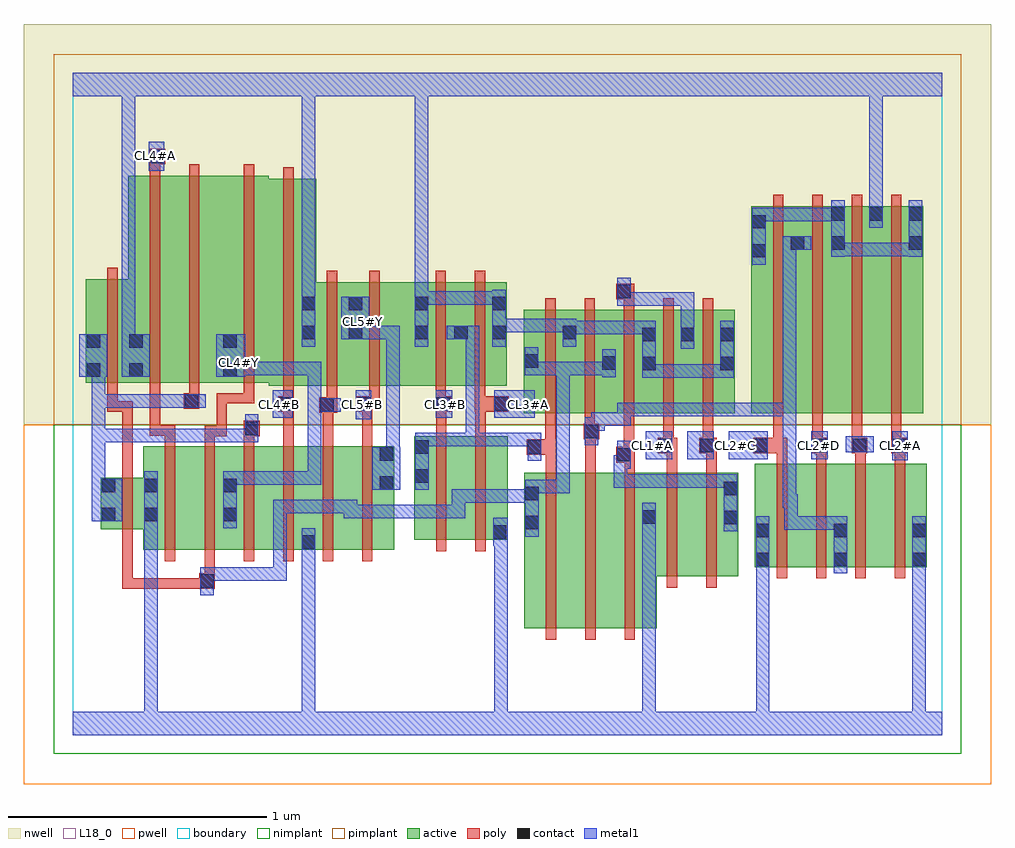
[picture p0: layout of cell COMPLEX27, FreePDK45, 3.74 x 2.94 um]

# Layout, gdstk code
import gdstk
lib = gdstk.Library(unit=1e-6, precision=1e-09)
def R(c, l, rs):  # rectangles x0, y0, x1, y1
    for r in rs: c.add(gdstk.rectangle(r[:2], r[2:], *l))
def A(c, l, x, y, w, h, nx, ny, dx, dy):  # array of equal rectangles
    R(c, l, [(x+i*dx, y+j*dy, x+i*dx+w, y+j*dy+h) for i in range(nx) for j in range(ny)])
active = (1, 0)
pwell = (2, 0)
nwell = (3, 0)
nimplant = (4, 0)
pimplant = (5, 0)
poly = (9, 0)
contact = (10, 0)
metal1 = (11, 0)
L18_0 = (18, 0)
boundary = (235, 0)

complex27 = lib.new_cell('COMPLEX27')
R(complex27, active, [(1.744,0.414,1.924,1.014), (1.924,0.414,2.076,1.014), (2.076,0.414,2.256,1.014), (1.744,0.556,1.804,1.014), (2.196,0.614,2.392,1.014), (2.392,0.614,2.572,1.014), (2.636,0.65,2.696,1.05), (2.636,0.65,2.816,1.05), (2.816,0.65,2.996,1.05), (2.936,0.65,3.12,1.05), (2.936,0.65,2.996,0.828), (3.12,0.65,3.3,1.05), (3.24,0.65,3.3,1.05), (0.272,0.716,0.452,1.116), (0.272,0.716,0.332,0.996), (0.452,0.716,0.638,1.116), (0.578,0.716,0.758,1.116), (0.758,0.716,0.942,1.116), (0.882,0.716,1.062,1.116), (0.882,0.716,0.942,0.88), (1.062,0.716,1.242,1.116), (0.578,0.756,0.638,0.996), (1.182,0.756,1.242,1.116), (1.32,0.756,1.38,1.156), (1.32,0.756,1.5,1.156), (1.5,0.756,1.68,1.156), (1.62,0.756,1.68,1.156), (2.196,0.756,2.256,0.874), (2.512,0.756,2.572,1.014), (0.108,0.796,0.332,0.996), (0.108,0.796,0.168,0.996), (1.742,1.244,1.802,1.644), (1.742,1.244,1.95,1.644), (1.89,1.244,1.95,1.644), (1.89,1.244,2.102,1.644), (2.042,1.244,2.102,1.644), (2.042,1.244,2.256,1.644), (2.196,1.244,2.256,1.644), (2.196,1.244,2.406,1.644), (2.346,1.244,2.406,1.644), (2.346,1.244,2.558,1.644), (2.498,1.244,2.558,1.644), (2.622,1.244,2.682,2.044), (2.622,1.244,2.83,2.044), (2.77,1.244,2.986,2.044), (2.926,1.244,3.134,2.044), (3.074,1.244,3.286,2.044), (3.226,1.244,3.286,2.044), (0.758,1.35,0.942,2.15), (0.882,1.35,1.122,1.75), (0.882,1.35,0.942,1.698), (1.062,1.35,1.122,1.75), (1.062,1.35,1.378,1.75), (1.318,1.35,1.378,1.75), (1.318,1.35,1.53,1.75), (1.47,1.35,1.53,1.75), (1.47,1.35,1.678,1.75), (1.618,1.35,1.678,1.75), (0.05,1.362,0.274,1.762), (0.05,1.362,0.11,1.644), (0.214,1.362,0.394,2.162), (0.394,1.362,0.638,2.162), (0.578,1.362,0.758,2.162), (0.578,1.362,0.638,2.044), (0.214,1.382,0.274,1.644), (2.926,1.574,2.986,2.044), (2.77,1.686,2.83,2.044), (3.074,1.686,3.134,2.044)])
R(complex27, pwell, [(-0.188,-0.188,3.548,1.2)])
R(complex27, nwell, [(-0.188,1.2,3.548,2.748)])
R(complex27, nimplant, [(-0.072,-0.072,3.432,1.2)])
R(complex27, pimplant, [(-0.072,1.2,3.432,2.632)])
A(complex27, poly, 1.828, 0.37, 0.04, 0.688, 3, 1, 0.152, 0)
A(complex27, poly, 2.72, 0.606, 0.04, 0.488, 4, 1, 0.152, 0)
A(complex27, poly, 0.51, 0.672, 0.04, 0.488, 5, 1, 0.152, 0)
A(complex27, poly, 2.72, 1.054, 0.04, 0.076, 4, 1, 0.152, 0)
A(complex27, poly, 2.858, 1.09, 0.06, 0.06, 3, 1, 0.152, 0)
A(complex27, poly, 2.706, 1.11, 0.04, 0.13, 4, 1, 0.152, 0)
A(complex27, poly, 1.826, 1.2, 0.04, 0.488, 5, 1, 0.152, 0)
A(complex27, poly, 2.706, 1.2, 0.04, 0.888, 4, 1, 0.152, 0)
A(complex27, poly, 0.794, 1.25, 0.06, 0.06, 3, 1, 0.304, 0)
R(complex27, poly, [(0.192,0.566,0.232,0.606), (0.192,0.566,0.232,0.606), (0.192,0.566,0.232,0.606), (0.192,0.566,0.232,0.606), (0.192,0.566,0.232,0.606), (0.192,0.566,0.232,0.606), (0.192,0.566,0.232,0.606), (0.192,0.566,0.338,0.606), (0.192,0.566,0.232,0.792), (0.298,0.566,0.338,0.606), (0.298,0.566,0.338,0.606), (0.298,0.566,0.338,0.606), (0.298,0.566,0.53,0.606), (0.49,0.566,0.55,0.626), (2.296,0.57,2.336,1.058), (2.448,0.57,2.488,1.058), (0.51,0.586,0.55,0.712), (0.356,0.672,0.396,1.16), (1.404,0.712,1.444,1.2), (1.556,0.712,1.596,1.2), (0.192,0.752,0.232,1.04), (0.192,1,0.232,1.29), (1.828,1.018,1.868,1.124), (1.98,1.018,2.02,1.184), (2.132,1.018,2.172,1.094), (2.296,1.018,2.336,1.13), (2.448,1.018,2.488,1.13), (2.1,1.054,2.172,1.114), (2.13,1.074,2.17,1.114), (2.13,1.074,2.17,1.114), (2.13,1.074,2.17,1.24), (1.754,1.084,1.868,1.144), (2.26,1.09,2.336,1.15), (2.42,1.09,2.488,1.15), (2.63,1.09,2.76,1.15), (2.872,1.09,2.912,1.13), (2.872,1.09,2.912,1.13), (1.826,1.104,1.866,1.144), (1.826,1.104,1.866,1.144), (1.826,1.104,1.866,1.24), (2.282,1.11,2.322,1.24), (2.282,1.11,2.322,1.15), (2.282,1.11,2.322,1.15), (2.434,1.11,2.474,1.24), (2.434,1.11,2.474,1.15), (2.434,1.11,2.474,1.15), (2.706,1.11,2.746,1.15), (2.706,1.11,2.746,1.15), (3.01,1.11,3.05,1.15), (3.01,1.11,3.05,1.15), (3.162,1.11,3.202,1.15), (3.162,1.11,3.202,1.15), (0.356,1.12,0.396,1.198), (0.51,1.12,0.55,1.196), (0.662,1.12,0.702,1.196), (0.814,1.12,0.854,1.29), (0.966,1.12,1.006,1.286), (1.118,1.12,1.158,1.29), (1.974,1.144,2.034,1.204), (1.98,1.144,2.02,1.184), (1.98,1.144,2.02,1.184), (0.51,1.156,0.55,1.196), (0.51,1.156,0.596,1.196), (0.556,1.156,0.596,1.196), (0.556,1.156,0.596,1.322), (0.662,1.156,0.722,1.216), (0.298,1.158,0.338,1.198), (0.298,1.158,0.338,1.198), (0.298,1.158,0.338,1.358), (0.298,1.158,0.396,1.198), (1.404,1.16,1.444,1.29), (1.556,1.16,1.596,1.29), (1.978,1.164,2.018,1.24), (0.952,1.246,1.022,1.306), (0.966,1.246,1.006,1.286), (0.966,1.246,1.006,1.286), (0.134,1.25,0.174,1.358), (0.134,1.25,0.228,1.29), (0.188,1.25,0.228,1.29), (0.188,1.25,0.232,1.29), (0.814,1.25,0.854,1.29), (0.814,1.25,0.854,1.29), (1.554,1.25,1.684,1.31), (1.556,1.25,1.596,1.29), (1.556,1.25,1.596,1.29), (0.43,1.262,0.49,1.322), (0.982,1.266,1.022,1.346), (0.814,1.27,0.854,1.346), (1.118,1.27,1.158,1.31), (1.118,1.27,1.186,1.31), (1.146,1.27,1.186,1.346), (1.402,1.27,1.442,1.31), (1.402,1.27,1.442,1.31), (1.402,1.27,1.442,1.346), (1.554,1.27,1.594,1.346), (0.45,1.282,0.49,1.358), (0.556,1.282,0.596,1.322), (0.556,1.282,0.702,1.322), (0.662,1.282,0.702,1.322), (0.662,1.282,0.702,1.358), (0.814,1.306,0.854,2.194), (0.982,1.306,1.022,1.794), (1.146,1.306,1.186,1.794), (1.402,1.306,1.442,1.794), (1.554,1.306,1.594,1.794), (0.134,1.318,0.174,1.806), (0.298,1.318,0.338,2.206), (0.45,1.318,0.49,2.206), (0.662,1.318,0.702,2.206), (2.13,1.648,2.17,1.724), (2.1,1.684,2.17,1.744), (0.298,2.166,0.338,2.246), (0.298,2.206,0.358,2.266)])
A(complex27, contact, 2.862, 1.094, 0.052, 0.052, 3, 1, 0.152, 0)
A(complex27, contact, 0.798, 1.254, 0.052, 0.052, 3, 1, 0.304, 0)
R(complex27, contact, [(0.494,0.57,0.546,0.622), (2.64,0.654,2.692,0.706), (2.94,0.654,2.992,0.706), (3.244,0.654,3.296,0.706), (0.886,0.72,0.938,0.772), (1.624,0.76,1.676,0.812), (2.64,0.766,2.692,0.818), (2.94,0.766,2.992,0.818), (3.244,0.766,3.296,0.818), (1.748,0.796,1.8,0.848), (2.516,0.816,2.568,0.868), (2.2,0.818,2.252,0.87), (0.112,0.828,0.164,0.88), (0.276,0.828,0.328,0.88), (0.582,0.828,0.634,0.88), (1.748,0.908,1.8,0.96), (2.516,0.928,2.568,0.98), (0.112,0.94,0.164,0.992), (0.276,0.94,0.328,0.992), (0.582,0.94,0.634,0.992), (1.186,0.948,1.238,1), (1.324,0.976,1.376,1.028), (2.104,1.058,2.156,1.11), (1.186,1.06,1.238,1.112), (1.324,1.088,1.376,1.14), (1.758,1.088,1.81,1.14), (2.264,1.094,2.316,1.146), (2.424,1.094,2.476,1.146), (2.634,1.094,2.686,1.146), (1.978,1.148,2.03,1.2), (0.666,1.16,0.718,1.212), (0.956,1.25,1.008,1.302), (1.628,1.254,1.68,1.306), (0.434,1.266,0.486,1.318), (0.054,1.386,0.106,1.438), (0.218,1.386,0.27,1.438), (0.582,1.386,0.634,1.438), (2.2,1.41,2.252,1.462), (2.502,1.41,2.554,1.462), (2.046,1.412,2.098,1.464), (1.746,1.42,1.798,1.472), (0.054,1.498,0.106,1.55), (0.218,1.498,0.27,1.55), (0.582,1.498,0.634,1.55), (2.2,1.522,2.252,1.574), (2.35,1.522,2.402,1.574), (2.502,1.522,2.554,1.574), (0.886,1.53,0.938,1.582), (1.066,1.53,1.118,1.582), (1.322,1.53,1.374,1.582), (1.474,1.53,1.526,1.582), (1.622,1.53,1.674,1.582), (1.894,1.53,1.946,1.582), (0.886,1.642,0.938,1.694), (1.066,1.642,1.118,1.694), (1.322,1.642,1.374,1.694), (1.622,1.642,1.674,1.694), (2.104,1.688,2.156,1.74), (2.626,1.846,2.678,1.898), (2.774,1.876,2.826,1.928), (2.93,1.876,2.982,1.928), (3.23,1.876,3.282,1.928), (2.626,1.958,2.678,2.01), (2.93,1.988,2.982,2.04), (3.078,1.988,3.13,2.04), (3.23,1.988,3.282,2.04), (0.302,2.21,0.354,2.262)])
R(complex27, metal1, [(0,0,3.36,0.092), (0.276,0.04,0.328,0.092), (0.276,0.04,0.328,0.092), (0.276,0.04,0.328,0.092), (0.276,0.04,0.328,0.092), (0.276,0.04,0.328,0.092), (0.276,0.04,0.328,0.092), (0.276,0.04,0.328,0.092), (0.276,0.04,0.328,0.092), (0.276,0.04,0.328,0.092), (0.276,0.04,0.328,0.092), (0.276,0.04,0.328,0.092), (0.276,0.04,0.328,0.092), (0.276,0.04,0.328,0.852), (0.886,0.04,0.938,0.092), (0.886,0.04,0.938,0.092), (0.886,0.04,0.938,0.092), (0.886,0.04,0.938,0.092), (0.886,0.04,0.938,0.092), (0.886,0.04,0.938,0.092), (0.886,0.04,0.938,0.092), (0.886,0.04,0.938,0.092), (0.886,0.04,0.938,0.092), (0.886,0.04,0.938,0.092), (0.886,0.04,0.938,0.092), (0.886,0.04,0.938,0.092), (0.886,0.04,0.938,0.744), (1.628,0.04,1.68,0.092), (1.628,0.04,1.68,0.092), (1.628,0.04,1.68,0.092), (1.628,0.04,1.68,0.092), (1.628,0.04,1.68,0.092), (1.628,0.04,1.68,0.092), (1.628,0.04,1.68,0.644), (2.2,0.04,2.252,0.092), (2.2,0.04,2.252,0.092), (2.2,0.04,2.252,0.092), (2.2,0.04,2.252,0.092), (2.2,0.04,2.252,0.842), (2.64,0.04,2.692,0.092), (2.64,0.04,2.692,0.092), (2.64,0.04,2.692,0.678), (3.244,0.04,3.296,0.092), (3.244,0.04,3.296,0.092), (3.244,0.04,3.296,0.678), (0.494,0.542,0.546,0.65), (1.628,0.592,1.68,0.644), (1.628,0.592,1.68,0.644), (1.628,0.592,1.68,0.644), (1.628,0.592,1.68,0.644), (1.628,0.592,1.68,0.644), (1.628,0.592,1.68,0.784), (0.494,0.598,0.656,0.65), (0.604,0.598,0.656,0.65), (0.604,0.598,0.656,0.65), (0.604,0.598,0.656,0.65), (0.604,0.598,0.656,0.65), (0.604,0.598,0.656,0.65), (0.604,0.598,0.828,0.65), (0.776,0.598,0.828,0.65), (0.776,0.598,0.828,0.91), (2.64,0.626,2.692,0.678), (2.64,0.626,2.692,0.678), (2.64,0.626,2.692,0.678), (2.64,0.626,2.692,0.678), (2.64,0.626,2.692,0.678), (2.64,0.626,2.692,0.678), (2.64,0.626,2.692,0.678), (2.64,0.626,2.692,0.678), (2.64,0.626,2.692,0.678), (2.64,0.626,2.692,0.678), (2.64,0.626,2.692,0.846), (2.94,0.626,2.992,0.846), (3.244,0.626,3.296,0.678), (3.244,0.626,3.296,0.678), (3.244,0.626,3.296,0.678), (3.244,0.626,3.296,0.678), (3.244,0.626,3.296,0.678), (3.244,0.626,3.296,0.678), (3.244,0.626,3.296,0.678), (3.244,0.626,3.296,0.678), (3.244,0.626,3.296,0.678), (3.244,0.626,3.296,0.678), (3.244,0.626,3.296,0.846), (0.886,0.692,0.938,0.8), (1.624,0.732,1.68,0.84), (1.748,0.768,1.8,0.988), (2.516,0.788,2.568,1.008), (2.2,0.79,2.252,0.842), (2.2,0.79,2.252,0.842), (2.2,0.79,2.252,0.842), (2.2,0.79,2.252,0.842), (2.2,0.79,2.252,0.898), (2.75,0.794,2.802,0.846), (2.75,0.794,2.802,0.846), (2.75,0.794,2.802,0.846), (2.75,0.794,2.992,0.846), (2.75,0.794,2.802,0.932), (0.276,0.8,0.328,1.02), (0.582,0.8,0.634,1.02), (0.074,0.828,0.192,0.992), (1.048,0.838,1.1,0.89), (1.048,0.838,1.1,0.89), (1.048,0.838,1.1,0.91), (1.048,0.838,1.266,0.89), (1.214,0.838,1.266,0.89), (1.214,0.838,1.266,0.89), (1.214,0.838,1.266,0.89), (1.214,0.838,1.516,0.89), (1.464,0.838,1.516,0.89), (1.464,0.838,1.516,0.89), (1.464,0.838,1.516,0.95), (0.776,0.858,0.828,0.91), (0.776,0.858,0.828,0.91), (0.776,0.858,0.828,0.91), (0.776,0.858,0.98,0.91), (0.928,0.858,0.98,0.91), (0.928,0.858,0.98,0.91), (0.928,0.858,0.98,0.91), (0.928,0.858,1.1,0.91), (2.744,0.88,2.796,1.284), (2.744,0.88,2.802,0.932), (1.464,0.898,1.626,0.95), (1.574,0.898,1.626,0.95), (1.574,0.898,1.68,0.95), (1.628,0.898,1.68,0.95), (1.628,0.898,1.8,0.95), (1.748,0.936,1.8,0.988), (1.748,0.936,1.8,0.988), (1.748,0.936,1.8,0.988), (1.748,0.936,1.8,0.988), (1.748,0.936,1.8,0.988), (1.748,0.936,1.8,0.988), (1.748,0.936,1.92,0.988), (1.868,0.936,1.92,0.988), (1.868,0.936,1.92,0.988), (1.868,0.936,1.92,0.988), (1.868,0.936,1.92,1.444), (0.074,0.94,0.126,1.184), (1.158,0.948,1.266,1.112), (1.324,0.948,1.376,1.168), (2.09,0.956,2.142,1.008), (2.09,0.956,2.142,1.008), (2.09,0.956,2.142,1.008), (2.09,0.956,2.256,1.008), (2.09,0.956,2.142,1.082), (2.204,0.956,2.256,1.008), (2.204,0.956,2.276,1.008), (2.224,0.956,2.276,1.008), (2.224,0.956,2.366,1.008), (2.314,0.956,2.366,1.008), (2.314,0.956,2.476,1.008), (2.424,0.956,2.476,1.008), (2.424,0.956,2.568,1.008), (0.582,0.968,0.656,1.02), (0.604,0.968,0.656,1.02), (0.604,0.968,0.828,1.02), (0.776,0.968,0.828,1.02), (0.776,0.968,0.828,1.02), (0.776,0.968,0.828,1.02), (0.776,0.968,0.828,1.02), (0.776,0.968,0.828,1.02), (0.776,0.968,0.96,1.02), (0.908,0.968,0.96,1.02), (0.908,0.968,0.96,1.302), (2.09,1.03,2.142,1.082), (2.09,1.03,2.156,1.082), (2.104,1.03,2.156,1.138), (1.212,1.06,1.264,1.444), (1.758,1.06,1.81,1.168), (3.166,1.062,3.226,1.174), (2.214,1.066,2.316,1.174), (2.374,1.066,2.476,1.174), (2.534,1.066,2.686,1.174), (2.854,1.066,2.918,1.174), (2.986,1.094,3.094,1.156), (1.324,1.116,1.376,1.168), (1.324,1.116,1.376,1.168), (1.324,1.116,1.564,1.168), (1.512,1.116,1.564,1.168), (1.512,1.116,1.626,1.168), (1.518,1.116,1.57,1.168), (1.518,1.116,1.626,1.168), (1.518,1.116,1.57,1.582), (1.574,1.116,1.626,1.168), (1.574,1.116,1.626,1.168), (1.574,1.116,1.68,1.168), (1.574,1.116,1.68,1.168), (1.628,1.116,1.68,1.168), (1.628,1.116,1.68,1.168), (1.628,1.116,1.68,1.168), (1.628,1.116,1.81,1.168), (1.758,1.116,1.81,1.168), (1.758,1.116,1.81,1.168), (1.978,1.12,2.03,1.228), (0.074,1.132,0.126,1.184), (0.074,1.132,0.126,1.184), (0.074,1.132,0.126,1.184), (0.074,1.132,0.236,1.184), (0.074,1.132,0.126,1.318), (0.184,1.132,0.236,1.184), (0.184,1.132,0.236,1.184), (0.184,1.132,0.236,1.184), (0.184,1.132,0.496,1.184), (0.444,1.132,0.496,1.184), (0.444,1.132,0.496,1.184), (0.444,1.132,0.496,1.184), (0.444,1.132,0.718,1.184), (0.666,1.132,0.718,1.184), (0.666,1.132,0.718,1.184), (0.666,1.132,0.718,1.24), (1.978,1.176,2.056,1.228), (2.004,1.176,2.056,1.248), (2.004,1.196,2.156,1.248), (2.104,1.196,2.156,1.284), (1.094,1.222,1.154,1.334), (0.774,1.226,0.85,1.334), (1.402,1.226,1.466,1.334), (1.628,1.226,1.786,1.334), (2.104,1.232,2.256,1.284), (2.204,1.232,2.256,1.284), (2.204,1.232,2.296,1.284), (2.244,1.232,2.296,1.284), (2.244,1.232,2.366,1.284), (2.314,1.232,2.366,1.284), (2.314,1.232,2.476,1.284), (2.424,1.232,2.476,1.284), (2.424,1.232,2.476,1.284), (2.424,1.232,2.476,1.284), (2.424,1.232,2.686,1.284), (2.634,1.232,2.686,1.284), (2.634,1.232,2.686,1.284), (2.634,1.232,2.686,1.284), (2.634,1.232,2.796,1.284), (2.744,1.232,2.796,1.284), (2.744,1.232,2.796,1.928), (0.908,1.25,0.96,1.302), (0.908,1.25,0.98,1.302), (0.908,1.25,0.96,1.444), (0.928,1.25,1.036,1.302), (0.074,1.266,0.126,1.318), (0.074,1.266,0.126,1.318), (0.074,1.266,0.126,1.318), (0.074,1.266,0.348,1.318), (0.074,1.266,0.126,1.438), (0.296,1.266,0.348,1.318), (0.296,1.266,0.348,1.318), (0.296,1.266,0.348,1.318), (0.296,1.266,0.458,1.318), (0.406,1.266,0.458,1.318), (0.406,1.266,0.458,1.318), (0.406,1.266,0.514,1.318), (2.2,1.382,2.252,1.434), (2.2,1.382,2.252,1.434), (2.2,1.382,2.252,1.602), (2.2,1.382,2.266,1.434), (2.214,1.382,2.266,1.434), (2.214,1.382,2.366,1.434), (2.314,1.382,2.366,1.434), (2.314,1.382,2.476,1.434), (2.424,1.382,2.476,1.434), (2.424,1.382,2.554,1.434), (2.502,1.382,2.554,1.602), (2.046,1.384,2.098,1.492), (0.026,1.386,0.134,1.55), (0.19,1.386,0.298,1.55), (0.554,1.386,0.666,1.55), (0.614,1.392,0.666,1.444), (0.614,1.392,0.666,1.444), (0.614,1.392,0.828,1.444), (0.776,1.392,0.828,1.444), (0.776,1.392,0.828,1.444), (0.776,1.392,0.828,1.444), (0.776,1.392,0.96,1.444), (0.908,1.392,0.96,1.444), (1.212,1.392,1.264,1.444), (1.212,1.392,1.264,1.444), (1.212,1.392,1.264,1.444), (1.212,1.392,1.264,1.444), (1.212,1.392,1.264,1.444), (1.212,1.392,1.264,1.444), (1.212,1.392,1.264,1.444), (1.212,1.392,1.264,1.444), (1.212,1.392,1.264,1.444), (1.212,1.392,1.264,1.444), (1.212,1.392,1.264,1.444), (1.212,1.392,1.264,1.582), (1.746,1.392,1.798,1.444), (1.746,1.392,1.798,1.444), (1.746,1.392,1.798,1.5), (1.746,1.392,1.92,1.444), (1.868,1.392,1.92,1.444), (1.868,1.392,1.92,1.444), (1.868,1.392,1.92,1.444), (1.868,1.392,1.92,1.444), (1.868,1.392,1.92,1.444), (1.868,1.392,2.098,1.444), (2.35,1.494,2.402,1.602), (0.19,1.498,0.242,2.52), (0.886,1.502,0.938,1.722), (1.322,1.502,1.374,1.722), (1.622,1.502,1.674,1.722), (1.894,1.502,1.946,1.61), (1.038,1.53,1.146,1.694), (1.048,1.53,1.1,1.582), (1.048,1.53,1.1,1.582), (1.048,1.53,1.1,1.582), (1.048,1.53,1.1,1.582), (1.048,1.53,1.264,1.582), (1.212,1.53,1.264,1.582), (1.446,1.53,1.554,1.582), (1.502,1.53,1.554,1.582), (1.502,1.53,1.57,1.582), (1.894,1.55,2.026,1.602), (1.974,1.55,2.026,1.602), (1.974,1.55,2.142,1.602), (2.09,1.55,2.142,1.602), (2.09,1.55,2.142,1.602), (2.09,1.55,2.142,1.602), (2.09,1.55,2.252,1.602), (2.35,1.55,2.402,1.712), (1.622,1.558,1.774,1.61), (1.722,1.558,1.774,1.61), (1.722,1.558,1.79,1.61), (1.738,1.558,1.79,1.61), (1.738,1.558,1.946,1.61), (2.104,1.66,2.156,1.768), (2.104,1.66,2.256,1.712), (2.204,1.66,2.256,1.712), (2.204,1.66,2.266,1.712), (2.214,1.66,2.266,1.712), (2.214,1.66,2.402,1.712), (2.35,1.66,2.402,1.712), (1.322,1.664,1.486,1.716), (1.434,1.664,1.486,1.716), (1.434,1.664,1.486,1.716), (1.434,1.664,1.486,1.716), (1.434,1.664,1.626,1.716), (1.574,1.664,1.626,1.716), (1.574,1.664,1.674,1.716), (0.886,1.67,0.938,2.52), (1.322,1.67,1.374,2.52), (2.626,1.818,2.678,2.038), (2.93,1.848,2.982,2.068), (3.23,1.848,3.282,2.068), (2.93,1.85,2.982,1.902), (2.93,1.85,2.982,1.902), (2.93,1.85,3.172,1.902), (3.12,1.85,3.172,1.902), (3.12,1.85,3.282,1.902), (3.23,1.85,3.282,1.902), (3.23,1.85,3.282,1.902), (2.744,1.876,2.854,1.928), (3.078,1.96,3.13,2.068), (2.626,1.986,2.678,2.038), (2.626,1.986,2.678,2.038), (2.626,1.986,2.872,2.038), (2.82,1.986,2.872,2.038), (2.82,1.986,2.872,2.038), (2.82,1.986,2.872,2.038), (2.82,1.986,2.982,2.038), (3.078,2.016,3.13,2.52), (0.294,2.182,0.354,2.294), (0,2.468,3.36,2.56), (0.184,2.468,0.236,2.52), (0.184,2.468,0.236,2.52), (0.184,2.468,0.236,2.52), (0.184,2.468,0.236,2.52), (0.184,2.468,0.236,2.52), (0.184,2.468,0.236,2.52), (0.184,2.468,0.236,2.52), (0.184,2.468,0.242,2.52), (0.886,2.468,0.938,2.52), (0.886,2.468,0.938,2.52), (0.886,2.468,0.938,2.52), (0.886,2.468,0.938,2.52), (0.886,2.468,0.938,2.52), (0.886,2.468,0.938,2.52), (0.886,2.468,0.938,2.52), (0.886,2.468,0.938,2.52), (1.322,2.468,1.374,2.52), (1.322,2.468,1.374,2.52), (1.322,2.468,1.374,2.52), (1.322,2.468,1.374,2.52), (1.322,2.468,1.374,2.52), (1.322,2.468,1.374,2.52), (1.322,2.468,1.374,2.52), (1.322,2.468,1.374,2.52), (1.322,2.468,1.374,2.52), (1.322,2.468,1.374,2.52), (1.322,2.468,1.374,2.52), (1.322,2.468,1.374,2.52), (1.322,2.468,1.374,2.52), (1.322,2.468,1.374,2.52), (1.322,2.468,1.374,2.52), (1.322,2.468,1.374,2.52), (3.078,2.468,3.13,2.52), (3.078,2.468,3.13,2.52), (3.078,2.468,3.13,2.52), (3.078,2.468,3.13,2.52), (3.078,2.468,3.13,2.52), (3.078,2.468,3.13,2.52), (3.078,2.468,3.13,2.52), (3.078,2.468,3.13,2.52)])
A(complex27, L18_0, 2.214, 1.094, 0.052, 0.052, 3, 1, 0.16, 0)
A(complex27, L18_0, 2.854, 1.094, 0.052, 0.052, 3, 1, 0.16, 0)
A(complex27, L18_0, 0.774, 1.254, 0.052, 0.052, 4, 1, 0.32, 0)
R(complex27, L18_0, [(0,0,3.36,0.092), (0.276,0.04,0.328,0.092), (0.276,0.04,0.328,0.092), (0.276,0.04,0.328,0.092), (0.276,0.04,0.328,0.092), (0.276,0.04,0.328,0.092), (0.276,0.04,0.328,0.092), (0.276,0.04,0.328,0.092), (0.276,0.04,0.328,0.092), (0.276,0.04,0.328,0.092), (0.276,0.04,0.328,0.092), (0.276,0.04,0.328,0.092), (0.276,0.04,0.328,0.092), (0.276,0.04,0.328,0.852), (0.886,0.04,0.938,0.092), (0.886,0.04,0.938,0.092), (0.886,0.04,0.938,0.092), (0.886,0.04,0.938,0.092), (0.886,0.04,0.938,0.092), (0.886,0.04,0.938,0.092), (0.886,0.04,0.938,0.092), (0.886,0.04,0.938,0.092), (0.886,0.04,0.938,0.092), (0.886,0.04,0.938,0.092), (0.886,0.04,0.938,0.092), (0.886,0.04,0.938,0.092), (0.886,0.04,0.938,0.744), (1.628,0.04,1.68,0.092), (1.628,0.04,1.68,0.092), (1.628,0.04,1.68,0.092), (1.628,0.04,1.68,0.092), (1.628,0.04,1.68,0.092), (1.628,0.04,1.68,0.092), (1.628,0.04,1.68,0.644), (2.2,0.04,2.252,0.092), (2.2,0.04,2.252,0.092), (2.2,0.04,2.252,0.092), (2.2,0.04,2.252,0.092), (2.2,0.04,2.252,0.842), (2.64,0.04,2.692,0.092), (2.64,0.04,2.692,0.092), (2.64,0.04,2.692,0.678), (3.244,0.04,3.296,0.092), (3.244,0.04,3.296,0.092), (3.244,0.04,3.296,0.678), (1.628,0.592,1.68,0.644), (1.628,0.592,1.68,0.644), (1.628,0.592,1.68,0.644), (1.628,0.592,1.68,0.644), (1.628,0.592,1.68,0.644), (1.628,0.592,1.68,0.784), (2.64,0.626,2.692,0.678), (2.64,0.626,2.692,0.678), (2.64,0.626,2.692,0.678), (2.64,0.626,2.692,0.678), (2.64,0.626,2.692,0.678), (2.64,0.626,2.692,0.678), (2.64,0.626,2.692,0.678), (2.64,0.626,2.692,0.678), (2.64,0.626,2.692,0.678), (2.64,0.626,2.692,0.678), (2.64,0.626,2.692,0.846), (3.244,0.626,3.296,0.678), (3.244,0.626,3.296,0.678), (3.244,0.626,3.296,0.678), (3.244,0.626,3.296,0.678), (3.244,0.626,3.296,0.678), (3.244,0.626,3.296,0.678), (3.244,0.626,3.296,0.678), (3.244,0.626,3.296,0.678), (3.244,0.626,3.296,0.678), (3.244,0.626,3.296,0.678), (3.244,0.626,3.296,0.846), (0.886,0.692,0.938,0.8), (1.624,0.732,1.68,0.84), (2.2,0.79,2.252,0.842), (2.2,0.79,2.252,0.842), (2.2,0.79,2.252,0.842), (2.2,0.79,2.252,0.842), (2.2,0.79,2.252,0.898), (0.276,0.8,0.328,1.02), (0.582,0.8,0.634,1.02), (1.158,0.948,1.266,1.112), (0.582,0.968,0.656,1.02), (0.604,0.968,0.656,1.02), (0.604,0.968,0.828,1.02), (0.776,0.968,0.828,1.02), (0.776,0.968,0.828,1.02), (0.776,0.968,0.828,1.02), (0.776,0.968,0.828,1.02), (0.776,0.968,0.828,1.02), (0.776,0.968,0.96,1.02), (0.908,0.968,0.96,1.02), (0.908,0.968,0.96,1.302), (1.212,1.06,1.264,1.444), (3.166,1.062,3.226,1.174), (2.214,1.066,2.316,1.174), (2.374,1.066,2.476,1.174), (2.534,1.066,2.686,1.174), (2.854,1.066,2.918,1.174), (2.986,1.094,3.094,1.156), (1.094,1.222,1.154,1.334), (0.774,1.226,0.85,1.334), (1.402,1.226,1.466,1.334), (1.628,1.226,1.786,1.334), (0.908,1.25,0.96,1.302), (0.908,1.25,0.96,1.444), (0.908,1.25,0.98,1.302), (0.928,1.25,1.036,1.302), (2.2,1.382,2.252,1.434), (2.2,1.382,2.252,1.434), (2.2,1.382,2.252,1.602), (2.2,1.382,2.266,1.434), (2.214,1.382,2.266,1.434), (2.214,1.382,2.366,1.434), (2.314,1.382,2.366,1.434), (2.314,1.382,2.476,1.434), (2.424,1.382,2.476,1.434), (2.424,1.382,2.554,1.434), (2.502,1.382,2.554,1.602), (0.19,1.386,0.298,1.55), (0.554,1.386,0.666,1.55), (0.614,1.392,0.666,1.444), (0.614,1.392,0.666,1.444), (0.614,1.392,0.828,1.444), (0.776,1.392,0.828,1.444), (0.776,1.392,0.828,1.444), (0.776,1.392,0.828,1.444), (0.776,1.392,0.96,1.444), (0.908,1.392,0.96,1.444), (1.212,1.392,1.264,1.444), (1.212,1.392,1.264,1.444), (1.212,1.392,1.264,1.444), (1.212,1.392,1.264,1.444), (1.212,1.392,1.264,1.444), (1.212,1.392,1.264,1.444), (1.212,1.392,1.264,1.444), (1.212,1.392,1.264,1.444), (1.212,1.392,1.264,1.444), (1.212,1.392,1.264,1.444), (1.212,1.392,1.264,1.444), (1.212,1.392,1.264,1.582), (0.614,1.414,0.666,1.466), (0.19,1.498,0.242,2.52), (0.886,1.502,0.938,1.722), (1.322,1.502,1.374,1.722), (1.622,1.502,1.674,1.722), (1.894,1.502,1.946,1.61), (1.038,1.53,1.146,1.694), (1.048,1.53,1.1,1.582), (1.048,1.53,1.1,1.582), (1.048,1.53,1.1,1.582), (1.048,1.53,1.1,1.582), (1.048,1.53,1.264,1.582), (1.212,1.53,1.264,1.582), (1.894,1.55,2.026,1.602), (1.974,1.55,2.026,1.602), (1.974,1.55,2.142,1.602), (2.09,1.55,2.142,1.602), (2.09,1.55,2.142,1.602), (2.09,1.55,2.142,1.602), (2.09,1.55,2.252,1.602), (1.622,1.558,1.774,1.61), (1.722,1.558,1.774,1.61), (1.722,1.558,1.79,1.61), (1.738,1.558,1.79,1.61), (1.738,1.558,1.946,1.61), (1.094,1.574,1.146,1.626), (1.322,1.664,1.486,1.716), (1.434,1.664,1.486,1.716), (1.434,1.664,1.486,1.716), (1.434,1.664,1.486,1.716), (1.434,1.664,1.626,1.716), (1.574,1.664,1.626,1.716), (1.574,1.664,1.674,1.716), (0.886,1.67,0.938,2.52), (1.322,1.67,1.374,2.52), (3.078,1.96,3.13,2.068), (3.078,2.016,3.13,2.52), (0.294,2.182,0.354,2.294), (0.294,2.214,0.346,2.266), (0,2.468,3.36,2.56), (0.184,2.468,0.236,2.52), (0.184,2.468,0.236,2.52), (0.184,2.468,0.236,2.52), (0.184,2.468,0.236,2.52), (0.184,2.468,0.236,2.52), (0.184,2.468,0.236,2.52), (0.184,2.468,0.236,2.52), (0.184,2.468,0.242,2.52), (0.886,2.468,0.938,2.52), (0.886,2.468,0.938,2.52), (0.886,2.468,0.938,2.52), (0.886,2.468,0.938,2.52), (0.886,2.468,0.938,2.52), (0.886,2.468,0.938,2.52), (0.886,2.468,0.938,2.52), (0.886,2.468,0.938,2.52), (1.322,2.468,1.374,2.52), (1.322,2.468,1.374,2.52), (1.322,2.468,1.374,2.52), (1.322,2.468,1.374,2.52), (1.322,2.468,1.374,2.52), (1.322,2.468,1.374,2.52), (1.322,2.468,1.374,2.52), (1.322,2.468,1.374,2.52), (1.322,2.468,1.374,2.52), (1.322,2.468,1.374,2.52), (1.322,2.468,1.374,2.52), (1.322,2.468,1.374,2.52), (1.322,2.468,1.374,2.52), (1.322,2.468,1.374,2.52), (1.322,2.468,1.374,2.52), (1.322,2.468,1.374,2.52), (3.078,2.468,3.13,2.52), (3.078,2.468,3.13,2.52), (3.078,2.468,3.13,2.52), (3.078,2.468,3.13,2.52), (3.078,2.468,3.13,2.52), (3.078,2.468,3.13,2.52), (3.078,2.468,3.13,2.52), (3.078,2.468,3.13,2.52)])
R(complex27, boundary, [(0,0,3.36,2.56)])
complex27.add(gdstk.Label('CL1#A', (2.24,1.12), layer=11, texttype=0))
complex27.add(gdstk.Label('CL1#B', (2.4,1.12), layer=11, texttype=0))
complex27.add(gdstk.Label('CL2#A', (3.2,1.12), layer=11, texttype=0))
complex27.add(gdstk.Label('CL2#B', (3.04,1.12), layer=11, texttype=0))
complex27.add(gdstk.Label('CL2#C', (2.56,1.12), layer=11, texttype=0))
complex27.add(gdstk.Label('CL2#D', (2.88,1.12), layer=11, texttype=0))
complex27.add(gdstk.Label('CL3#A', (1.76,1.28), layer=11, texttype=0))
complex27.add(gdstk.Label('CL3#B', (1.44,1.28), layer=11, texttype=0))
complex27.add(gdstk.Label('CL4#A', (0.32,2.24), layer=11, texttype=0))
complex27.add(gdstk.Label('CL4#B', (0.8,1.28), layer=11, texttype=0))
complex27.add(gdstk.Label('CL4#Y', (0.64,1.44), layer=11, texttype=0))
complex27.add(gdstk.Label('CL5#B', (1.12,1.28), layer=11, texttype=0))
complex27.add(gdstk.Label('CL5#Y', (1.12,1.6), layer=11, texttype=0))

lib.write_gds('COMPLEX27.gds')
